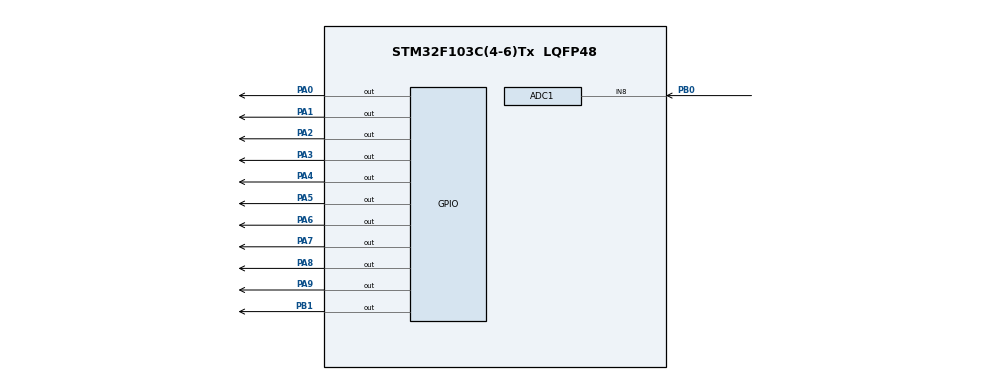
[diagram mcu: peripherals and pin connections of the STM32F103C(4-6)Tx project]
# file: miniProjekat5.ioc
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ADC1.Channel-0\#ChannelRegularConversion=ADC_CHANNEL_8
ADC1.ContinuousConvMode=ENABLE
ADC1.NbrOfConversionFlag=1
ADC1.Rank-0\#ChannelRegularConversion=1
ADC1.SamplingTime-0\#ChannelRegularConversion=ADC_SAMPLETIME_1CYCLE_5
ADC1.master=1
Mcu.Family=STM32F1
Mcu.Name=STM32F103C(4-6)Tx
Mcu.Package=LQFP48
NVIC.PriorityGroup=NVIC_PRIORITYGROUP_4
PA0-WKUP.Signal=GPIO_Output
PA1.Signal=GPIO_Output
PA2.Signal=GPIO_Output
PA3.Signal=GPIO_Output
PA4.Signal=GPIO_Output
PA5.Signal=GPIO_Output
PA6.Signal=GPIO_Output
PA7.Signal=GPIO_Output
PA8.Signal=GPIO_Output
PA9.Signal=GPIO_Output
PB0.Signal=ADCx_IN8
PB1.Signal=GPIO_Output
ProjectManager.HeapSize=0x200
ProjectManager.StackSize=0x400
ProjectManager.TargetToolchain=STM32CubeIDE
RCC.APB1Freq_Value=8000000
RCC.APB2Freq_Value=8000000
SH.ADCx_IN8.0=ADC1_IN8,IN8
board=custom

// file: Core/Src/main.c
/* USER CODE BEGIN Header */
/**
  ******************************************************************************
  * @file           : main.c
  * @brief          : Main program body
  ******************************************************************************
  * @attention
  *
  * <h2><center>&copy; Copyright (c) 2022 STMicroelectronics.
  * All rights reserved.</center></h2>
  *
  * This software component is licensed by ST under BSD 3-Clause license,
  * the "License"; You may not use this file except in compliance with the
  * License. You may obtain a copy of the License at:
  *                        opensource.org/licenses/BSD-3-Clause
  *
  ******************************************************************************
  */
/* USER CODE END Header */

#include "main.h"
#include "stdio.h"

ADC_HandleTypeDef hadc1;

void SystemClock_Config(void);
static void MX_GPIO_Init(void);
static void MX_ADC1_Init(void);

/* USER CODE BEGIN 0 */

void LCD(uint8_t val_1, uint8_t cmd)
{
	uint8_t data1;

	HAL_GPIO_WritePin(GPIOA, GPIO_PIN_8, cmd); // set RS = cmd; (cmd=0)=>Command; (cmd=1) => data

	data1 = val_1 & 0x01;
	HAL_GPIO_WritePin(GPIOA, GPIO_PIN_0, data1);

	data1 = (val_1 >> 1) & 0x01;
	HAL_GPIO_WritePin(GPIOA, GPIO_PIN_1, data1);

	data1 = (val_1 >> 2) & 0x01;
	HAL_GPIO_WritePin(GPIOA, GPIO_PIN_2, data1);

	data1 = (val_1 >> 3) & 0x01;
	HAL_GPIO_WritePin(GPIOA, GPIO_PIN_3, data1);

	data1 = (val_1 >> 4) & 0x01;
	HAL_GPIO_WritePin(GPIOA, GPIO_PIN_4, data1);

	data1 = (val_1 >> 5) & 0x01;
	HAL_GPIO_WritePin(GPIOA, GPIO_PIN_5, data1);

	data1 = (val_1 >> 6) & 0x01;
	HAL_GPIO_WritePin(GPIOA, GPIO_PIN_6, data1);

	data1 = (val_1 >> 7) & 0x01;
	HAL_GPIO_WritePin(GPIOA, GPIO_PIN_7, data1);

		//Enable
	HAL_GPIO_WritePin(GPIOA, GPIO_PIN_9, GPIO_PIN_SET);
	HAL_Delay(5);
	HAL_GPIO_WritePin(GPIOA, GPIO_PIN_9, GPIO_PIN_RESET);
}

void LCD_init()
{
	LCD(0x38, 0); //2 lines, 5*7 matrix
	LCD(0x0C, 0); //Display on, cursor off
	LCD(0x06, 0); //Increment cursor (shift to right)
	LCD(0x01, 0); //Clear display screen
	LCD(0x80, 0); //Forse cursos to beginning (1st line)
}

/* USER CODE END 0 */

int main(void)
{
  /* USER CODE BEGIN 1 */

	uint16_t addResult;
	uint32_t rezultat;

  /* USER CODE END 1 */

  /* MCU Configuration--------------------------------------------------------*/

  /* Reset of all peripherals, Initializes the Flash interface and the Systick. */
  HAL_Init();

  /* Configure the system clock */
  SystemClock_Config();

  /* Initialize all configured peripherals */
  MX_GPIO_Init();
  MX_ADC1_Init();
  LCD_init();
  /* Infinite loop */
  while (1)
  {

	  HAL_ADC_Start(&hadc1);
	  HAL_ADC_PollForConversion(&hadc1, HAL_MAX_DELAY);
	  addResult = HAL_ADC_GetValue(&hadc1);

	  rezultat = (addResult*10)/4095;

	  if(rezultat <= 5){
		  char poruka[] = "73 Uros";
		  int i=0;
		  while(poruka[i]){
			  LCD(poruka[i],1);
		  	  HAL_Delay(50);
		  	  i++;
		  }
	  }
	  else
	  {
		  char poruka[] = "73/2019 Uros";
		  int i=0;
		  while(poruka[i]){
			  LCD(poruka[i],1);
		  	  HAL_Delay(50);
		  	  i++;
		  }
	  }

	  LCD(0x01, 0); /* cistimo ekran */

	  HAL_Delay(1000);

  }
}

void SystemClock_Config(void)
{
  RCC_OscInitTypeDef RCC_OscInitStruct = {0};
  RCC_ClkInitTypeDef RCC_ClkInitStruct = {0};
  RCC_PeriphCLKInitTypeDef PeriphClkInit = {0};

  /** Initializes the CPU, AHB and APB busses clocks
  */
  RCC_OscInitStruct.OscillatorType = RCC_OSCILLATORTYPE_HSI;
  RCC_OscInitStruct.HSIState = RCC_HSI_ON;
  RCC_OscInitStruct.HSICalibrationValue = RCC_HSICALIBRATION_DEFAULT;
  RCC_OscInitStruct.PLL.PLLState = RCC_PLL_NONE;
  if (HAL_RCC_OscConfig(&RCC_OscInitStruct) != HAL_OK)
  {
    Error_Handler();
  }
  /** Initializes the CPU, AHB and APB busses clocks
  */
  RCC_ClkInitStruct.ClockType = RCC_CLOCKTYPE_HCLK|RCC_CLOCKTYPE_SYSCLK
                              |RCC_CLOCKTYPE_PCLK1|RCC_CLOCKTYPE_PCLK2;
  RCC_ClkInitStruct.SYSCLKSource = RCC_SYSCLKSOURCE_HSI;
  RCC_ClkInitStruct.AHBCLKDivider = RCC_SYSCLK_DIV1;
  RCC_ClkInitStruct.APB1CLKDivider = RCC_HCLK_DIV1;
  RCC_ClkInitStruct.APB2CLKDivider = RCC_HCLK_DIV1;

  if (HAL_RCC_ClockConfig(&RCC_ClkInitStruct, FLASH_LATENCY_0) != HAL_OK)
  {
    Error_Handler();
  }
  PeriphClkInit.PeriphClockSelection = RCC_PERIPHCLK_ADC;
  PeriphClkInit.AdcClockSelection = RCC_ADCPCLK2_DIV2;
  if (HAL_RCCEx_PeriphCLKConfig(&PeriphClkInit) != HAL_OK)
  {
    Error_Handler();
  }
}

static void MX_ADC1_Init(void)
{

  ADC_ChannelConfTypeDef sConfig = {0};

  /** Common config
  */
  hadc1.Instance = ADC1;
  hadc1.Init.ScanConvMode = ADC_SCAN_DISABLE;
  hadc1.Init.ContinuousConvMode = ENABLE;
  hadc1.Init.DiscontinuousConvMode = DISABLE;
  hadc1.Init.ExternalTrigConv = ADC_SOFTWARE_START;
  hadc1.Init.DataAlign = ADC_DATAALIGN_RIGHT;
  hadc1.Init.NbrOfConversion = 1;
  if (HAL_ADC_Init(&hadc1) != HAL_OK)
  {
    Error_Handler();
  }
  /** Configure Regular Channel
  */
  sConfig.Channel = ADC_CHANNEL_8;
  sConfig.Rank = ADC_REGULAR_RANK_1;
  sConfig.SamplingTime = ADC_SAMPLETIME_1CYCLE_5;
  if (HAL_ADC_ConfigChannel(&hadc1, &sConfig) != HAL_OK)
  {
    Error_Handler();
  }

}

static void MX_GPIO_Init(void)
{
  GPIO_InitTypeDef GPIO_InitStruct = {0};

  /* GPIO Ports Clock Enable */
  __HAL_RCC_GPIOA_CLK_ENABLE();
  __HAL_RCC_GPIOB_CLK_ENABLE();

  /*Configure GPIO pin Output Level */
  HAL_GPIO_WritePin(GPIOA, GPIO_PIN_0|GPIO_PIN_1|GPIO_PIN_2|GPIO_PIN_3
                          |GPIO_PIN_4|GPIO_PIN_5|GPIO_PIN_6|GPIO_PIN_7
                          |GPIO_PIN_8|GPIO_PIN_9, GPIO_PIN_RESET);

  /*Configure GPIO pin Output Level */
  HAL_GPIO_WritePin(GPIOB, GPIO_PIN_1, GPIO_PIN_RESET);

  /*Configure GPIO pins : PA0 PA1 PA2 PA3
                           PA4 PA5 PA6 PA7
                           PA8 PA9 */
  GPIO_InitStruct.Pin = GPIO_PIN_0|GPIO_PIN_1|GPIO_PIN_2|GPIO_PIN_3
                          |GPIO_PIN_4|GPIO_PIN_5|GPIO_PIN_6|GPIO_PIN_7
                          |GPIO_PIN_8|GPIO_PIN_9;
  GPIO_InitStruct.Mode = GPIO_MODE_OUTPUT_PP;
  GPIO_InitStruct.Pull = GPIO_NOPULL;
  GPIO_InitStruct.Speed = GPIO_SPEED_FREQ_LOW;
  HAL_GPIO_Init(GPIOA, &GPIO_InitStruct);

  /*Configure GPIO pin : PB1 */
  GPIO_InitStruct.Pin = GPIO_PIN_1;
  GPIO_InitStruct.Mode = GPIO_MODE_OUTPUT_PP;
  GPIO_InitStruct.Pull = GPIO_NOPULL;
  GPIO_InitStruct.Speed = GPIO_SPEED_FREQ_LOW;
  HAL_GPIO_Init(GPIOB, &GPIO_InitStruct);

}

void Error_Handler(void)
{
}

/************************ (C) COPYRIGHT STMicroelectronics *****END OF FILE****/
